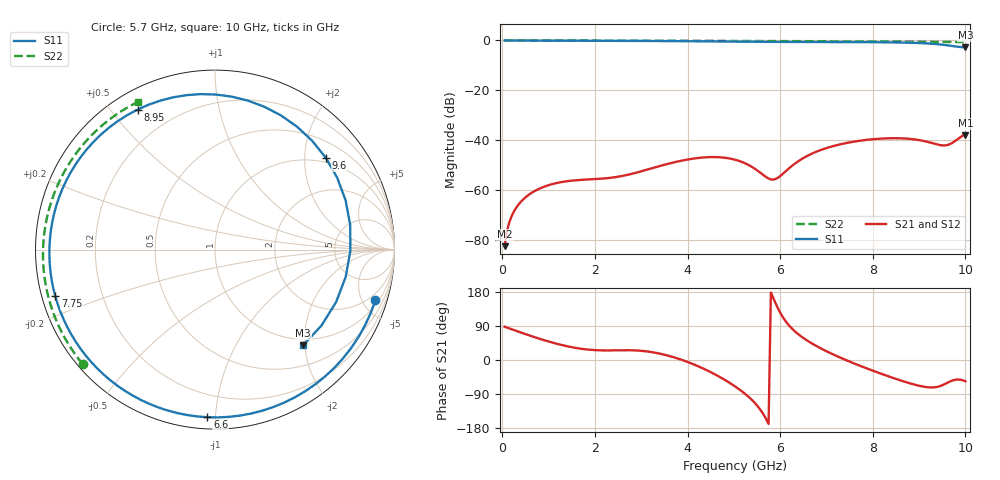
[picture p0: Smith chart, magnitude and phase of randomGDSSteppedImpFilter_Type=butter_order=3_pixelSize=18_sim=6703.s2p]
! freq	dB(S11)	phase(S11)	dB(S12)	phase(S12)
!  dB(S21)	phase(S21)	dB(S22)	phase(S22)
!S-par simulation data
#  GHz  S  DB  R 50
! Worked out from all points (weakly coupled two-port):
!   200 points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, 50 MHz to 10 GHz, reference 50 ohm
!   highest |S21| = -38.11 dB at 10 GHz (marker M1); lowest = -82.7 dB at 50 MHz (marker M2)
!   lowest |S11| = -2.8 dB at 10 GHz (marker M3), VSWR 6.26, Z = 43.8 - j98.2 ohm
!   |S11| at or under -10 dB: nowhere
!   |S22| runs from -0.6 to 0.0 dB; largest |S21 - S12| = 0
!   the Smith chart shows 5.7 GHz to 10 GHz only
!   S11 on the Smith chart (normalised r, x): 5.7 GHz: 1.34, -6.20; 6.6 GHz: 0.06, -0.95; 7.75 GHz: 0.04, -0.14; 8.95 GHz: 0.08, +0.59; 9.6 GHz: 0.87, +2.51; 10 GHz: 0.88, -1.96
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0.05  -0.00 -3.1  -82.66 87.8  -82.66 87.8  -0.00 -1.4
0.25  -0.02 -15.3  -68.78 79.0  -68.78 79.0  -0.01 -6.8
0.55  -0.04 -33.4  -62.30 66.2  -62.30 66.2  -0.02 -15.0
1.15  -0.09 -68.3  -57.40 43.7  -57.40 43.7  -0.04 -31.1
1.75  -0.12 -101.4  -55.96 28.8  -55.96 28.8  -0.06 -46.8
2.65  -0.17 -148.8  -54.22 25.9  -54.22 25.9  -0.09 -69.6
3.4  -0.23 170.0  -50.46 16.8  -50.46 16.8  -0.11 -87.6
3.9  -0.29 138.9  -48.20 -0.6  -48.20 -0.6  -0.13 -99.3
4.4  -0.37 102.5  -46.95 -26.0  -46.95 -26.0  -0.15 -110.6
5.05  -0.49 45.3  -48.04 -71.7  -48.04 -71.7  -0.19 -125.0
5.4  -0.54 11.4  -50.91 -106.5  -50.91 -106.5  -0.21 -132.7
5.7  -0.56 -17.5  -54.95 -156.5  -54.95 -156.5  -0.22 -139.2
6.15  -0.58 -57.8  -52.06 97.2  -52.06 97.2  -0.26 -149.0
6.6  -0.58 -92.6  -46.25 50.1  -46.25 50.1  -0.29 -158.8
6.7  -0.59 -99.6  -45.36 42.6  -45.36 42.6  -0.30 -161.0
7.75  -0.66 -163.7  -40.22 -16.5  -40.22 -16.5  -0.39 175.4
8.35  -0.76 161.4  -39.30 -43.5  -39.30 -43.5  -0.45 161.2
8.95  -1.00 118.9  -39.88 -66.5  -39.88 -66.5  -0.52 146.2
9.3  -1.34 83.8  -41.34 -72.3  -41.34 -72.3  -0.56 137.0
9.6  -1.92 39.7  -42.06 -60.8  -42.06 -60.8  -0.60 128.8
9.8  -2.45 -0.5  -40.15 -51.8  -40.15 -51.8  -0.62 123.2
10  -2.80 -47.3  -38.11 -56.0  -38.11 -56.0  -0.65 117.5
